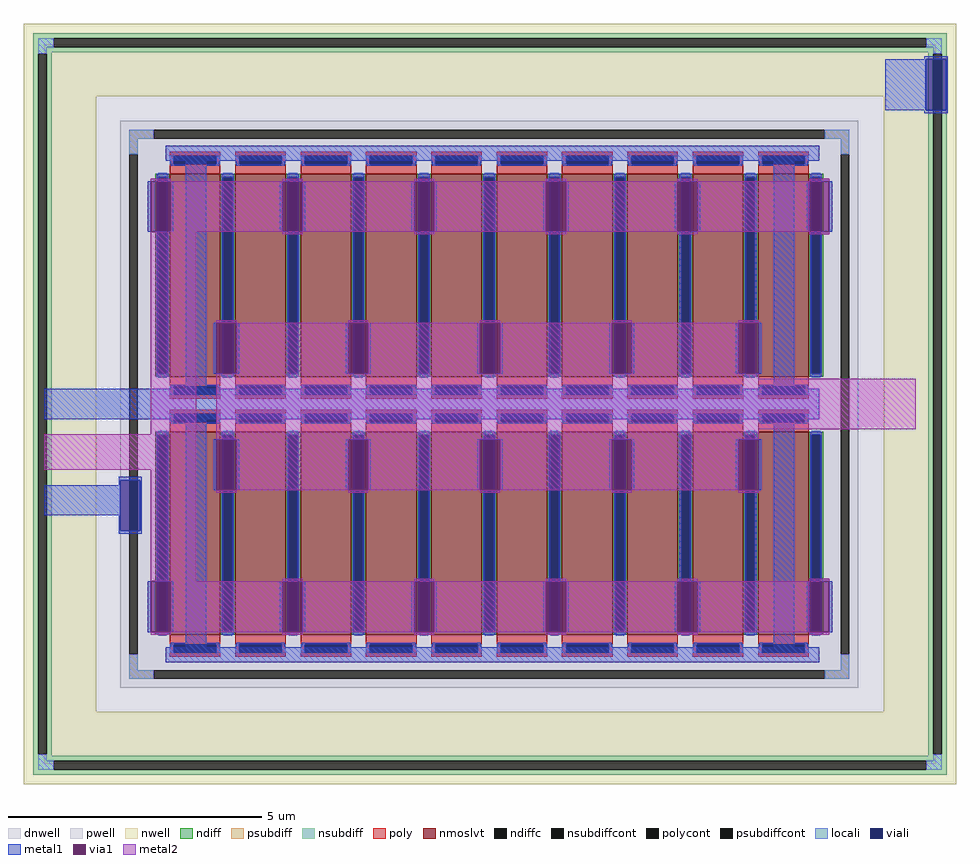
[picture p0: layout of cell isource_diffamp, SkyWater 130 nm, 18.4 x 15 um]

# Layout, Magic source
magic
tech sky130A
magscale 1 2
<< dnwell >>
rect 14640 -8120 18160 -5280
<< nwell >>
rect 14560 -5486 18240 -5200
rect 14560 -7914 14846 -5486
rect 17954 -7914 18240 -5486
rect 14560 -8200 18240 -7914
<< nsubdiff >>
rect 14597 -5257 18203 -5237
rect 14597 -5291 14677 -5257
rect 18123 -5291 18203 -5257
rect 14597 -5311 18203 -5291
rect 14597 -5317 14671 -5311
rect 14597 -8083 14617 -5317
rect 14651 -8083 14671 -5317
rect 14597 -8089 14671 -8083
rect 18129 -5317 18203 -5311
rect 18129 -8083 18149 -5317
rect 18183 -8083 18203 -5317
rect 18129 -8089 18203 -8083
rect 14597 -8109 18203 -8089
rect 14597 -8143 14677 -8109
rect 18123 -8143 18203 -8109
rect 14597 -8163 18203 -8143
<< nsubdiffcont >>
rect 14677 -5291 18123 -5257
rect 14617 -8083 14651 -5317
rect 18149 -8083 18183 -5317
rect 14677 -8143 18123 -8109
<< locali >>
rect 14617 -5291 14677 -5257
rect 18123 -5291 18183 -5257
rect 14617 -5317 14651 -5291
rect 18149 -5317 18183 -5291
rect 14617 -8109 14651 -8083
rect 18149 -8109 18183 -8083
rect 14617 -8143 14677 -8109
rect 18123 -8143 18183 -8109
<< viali >>
rect 18120 -5540 18149 -5340
rect 18149 -5540 18183 -5340
rect 18183 -5540 18200 -5340
rect 14940 -7200 15020 -7000
<< metal1 >>
rect 18114 -5340 18206 -5328
rect 17960 -5540 18120 -5340
rect 18200 -5540 18206 -5340
rect 18114 -5552 18206 -5540
rect 15120 -5740 17700 -5680
rect 15050 -6020 15060 -5820
rect 15140 -6020 15150 -5820
rect 15200 -6640 15280 -5740
rect 15570 -6020 15580 -5820
rect 15660 -6020 15670 -5820
rect 16090 -6020 16100 -5820
rect 16180 -6020 16190 -5820
rect 16610 -6020 16620 -5820
rect 16700 -6020 16710 -5820
rect 17130 -6020 17140 -5820
rect 17220 -6020 17230 -5820
rect 15310 -6580 15320 -6380
rect 15400 -6580 15410 -6380
rect 15830 -6580 15840 -6380
rect 15920 -6580 15930 -6380
rect 16350 -6580 16360 -6380
rect 16440 -6580 16450 -6380
rect 16870 -6580 16880 -6380
rect 16960 -6580 16970 -6380
rect 17370 -6580 17380 -6380
rect 17460 -6580 17470 -6380
rect 17520 -6640 17600 -5740
rect 17650 -6020 17660 -5820
rect 17740 -6020 17750 -5820
rect 14640 -6760 17700 -6640
rect 14934 -7000 15026 -6988
rect 14934 -7020 14940 -7000
rect 14640 -7140 14940 -7020
rect 14934 -7200 14940 -7140
rect 15020 -7200 15026 -7000
rect 14934 -7212 15026 -7200
rect 15050 -7600 15060 -7400
rect 15140 -7600 15150 -7400
rect 15200 -7660 15280 -6760
rect 15310 -7040 15320 -6840
rect 15400 -7040 15410 -6840
rect 15830 -7040 15840 -6840
rect 15920 -7040 15930 -6840
rect 16350 -7040 16360 -6840
rect 16440 -7040 16450 -6840
rect 16870 -7040 16880 -6840
rect 16960 -7040 16970 -6840
rect 17370 -7040 17380 -6840
rect 17460 -7040 17470 -6840
rect 15570 -7600 15580 -7400
rect 15660 -7600 15670 -7400
rect 16090 -7600 16100 -7400
rect 16180 -7600 16190 -7400
rect 16610 -7600 16620 -7400
rect 16700 -7600 16710 -7400
rect 17130 -7600 17140 -7400
rect 17220 -7600 17230 -7400
rect 17520 -7660 17600 -6760
rect 17650 -7600 17660 -7400
rect 17740 -7600 17750 -7400
rect 15120 -7720 17700 -7660
<< via1 >>
rect 15060 -6020 15140 -5820
rect 15580 -6020 15660 -5820
rect 16100 -6020 16180 -5820
rect 16620 -6020 16700 -5820
rect 17140 -6020 17220 -5820
rect 15320 -6580 15400 -6380
rect 15840 -6580 15920 -6380
rect 16360 -6580 16440 -6380
rect 16880 -6580 16960 -6380
rect 17380 -6580 17460 -6380
rect 17660 -6020 17740 -5820
rect 15060 -7600 15140 -7400
rect 15320 -7040 15400 -6840
rect 15840 -7040 15920 -6840
rect 16360 -7040 16440 -6840
rect 16880 -7040 16960 -6840
rect 17380 -7040 17460 -6840
rect 15580 -7600 15660 -7400
rect 16100 -7600 16180 -7400
rect 16620 -7600 16700 -7400
rect 17140 -7600 17220 -7400
rect 17660 -7600 17740 -7400
<< metal2 >>
rect 15060 -5820 15140 -5810
rect 15580 -5820 15660 -5810
rect 16100 -5820 16180 -5810
rect 16620 -5820 16700 -5810
rect 17140 -5820 17220 -5810
rect 17660 -5820 17740 -5810
rect 15140 -6020 15580 -5820
rect 15660 -6020 16100 -5820
rect 16180 -6020 16620 -5820
rect 16700 -6020 17140 -5820
rect 17220 -6020 17660 -5820
rect 15060 -6820 15240 -6020
rect 15580 -6030 15660 -6020
rect 16100 -6030 16180 -6020
rect 16620 -6030 16700 -6020
rect 17140 -6030 17220 -6020
rect 17660 -6030 17740 -6020
rect 14640 -6960 15240 -6820
rect 15060 -7400 15240 -6960
rect 15320 -6380 15400 -6370
rect 15840 -6380 15920 -6370
rect 16360 -6380 16440 -6370
rect 16880 -6380 16960 -6370
rect 17380 -6380 17460 -6370
rect 15400 -6580 15840 -6380
rect 15920 -6580 16360 -6380
rect 16440 -6580 16880 -6380
rect 16960 -6580 17380 -6380
rect 15320 -6600 17460 -6580
rect 15320 -6800 18080 -6600
rect 15320 -6840 17460 -6800
rect 15400 -7040 15840 -6840
rect 15920 -7040 16360 -6840
rect 16440 -7040 16880 -6840
rect 16960 -7040 17380 -6840
rect 15320 -7050 15400 -7040
rect 15840 -7050 15920 -7040
rect 16360 -7050 16440 -7040
rect 16880 -7050 16960 -7040
rect 17380 -7050 17460 -7040
rect 15580 -7400 15660 -7390
rect 16100 -7400 16180 -7390
rect 16620 -7400 16700 -7390
rect 17140 -7400 17220 -7390
rect 17660 -7400 17740 -7390
rect 15140 -7600 15580 -7400
rect 15660 -7600 16100 -7400
rect 16180 -7600 16620 -7400
rect 16700 -7600 17140 -7400
rect 17220 -7600 17660 -7400
rect 15060 -7610 15140 -7600
rect 15580 -7610 15660 -7600
rect 16100 -7610 16180 -7600
rect 16620 -7610 16700 -7600
rect 17140 -7610 17220 -7600
rect 17660 -7610 17740 -7600
use sky130_fd_pr__nfet_01v8_lvt_ZZ3Y87  sky130_fd_pr__nfet_01v8_lvt_ZZ3Y87_0
transform 1 0 16397 0 1 -6701
box -1457 -1119 1457 1119
<< end >>

# cell sky130_fd_pr__nfet_01v8_lvt_ZZ3Y87: kit device sky130_fd_pr__nfet_01v8_lvt, w 4 l 1 m 2 nf 10 diffcov 100 polycov 100 guard 1 glc 1 grc 1 gtc 1 gbc 1 tbcov 100 rlcov 100 topc 1 botc 1 poverlap 0 doverlap 1 lmin 0.15 wmin 0.42 compatible {sky130_fd_pr__nfet_01v8 sky130_fd_pr__nfet_01v8_lvt sky130_fd_bs_flash__special_sonosfet_star sky130_fd_pr__nfet_g5v0d10v5 sky130_fd_pr__nfet_05v0_nvt sky130_fd_pr__nfet_03v3_nvt} full_metal 1 viasrc 100 viadrn 100 viagate 100 viagb 0 viagr 0 viagl 0 viagt 0
